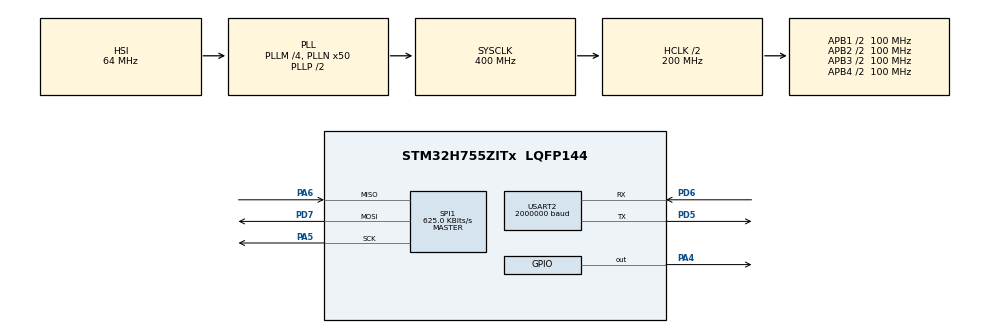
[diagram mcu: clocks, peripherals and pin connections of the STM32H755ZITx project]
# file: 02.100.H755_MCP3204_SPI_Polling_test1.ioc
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CortexM4.IPs=FATFS_M4\:I,FREERTOS_M4\:I,IWDG2\:I,RCC,WWDG2\:I,DMA,BDMA,MDMA,NVIC2\:I,ETH,DEBUG,PDM2PCM_M4\:I,PWR,RESMGR_UTILITY,SYS_M4\:I,USB_DEVICE_M4\:I,USB_HOST_M4\:I,CORTEX_M4\:I,GPIO,OPENAMP_M4\:I,VREFBUF,NUCLEO-H755ZI-Q
CortexM7.IPs=FATFS_M7\:I,FREERTOS_M7\:I,IWDG1\:I,RCC\:I,WWDG1\:I,DMA\:I,BDMA\:I,MDMA\:I,NVIC1\:I,ETH\:I,USB_OTG_FS\:I,SYS\:I,CORTEX_M7\:I,DEBUG\:I,PDM2PCM_M7\:I,PWR\:I,RESMGR_UTILITY\:I,USB_DEVICE_M7\:I,USB_HOST_M7\:I,GPIO\:I,OPENAMP_M7\:I,VREFBUF\:I,NUCLEO-H755ZI-Q\:I,MEMORYMAP\:I,USART2\:I,SPI1\:I
CortexM7.Pins=PA4
Dma.Request0=USART2_TX
Dma.Request1=USART2_RX
Dma.USART2_RX.1.Direction=DMA_PERIPH_TO_MEMORY
Dma.USART2_RX.1.EventEnable=DISABLE
Dma.USART2_RX.1.FIFOMode=DMA_FIFOMODE_DISABLE
Dma.USART2_RX.1.Instance=DMA1_Stream1
Dma.USART2_RX.1.MemDataAlignment=DMA_MDATAALIGN_BYTE
Dma.USART2_RX.1.MemInc=DMA_MINC_ENABLE
Dma.USART2_RX.1.Mode=DMA_CIRCULAR
Dma.USART2_RX.1.PeriphDataAlignment=DMA_PDATAALIGN_BYTE
Dma.USART2_RX.1.PeriphInc=DMA_PINC_DISABLE
Dma.USART2_RX.1.Polarity=HAL_DMAMUX_REQ_GEN_RISING
Dma.USART2_RX.1.Priority=DMA_PRIORITY_LOW
Dma.USART2_RX.1.RequestNumber=1
Dma.USART2_RX.1.SignalID=NONE
Dma.USART2_RX.1.SyncEnable=DISABLE
Dma.USART2_RX.1.SyncPolarity=HAL_DMAMUX_SYNC_NO_EVENT
Dma.USART2_RX.1.SyncRequestNumber=1
Dma.USART2_RX.1.SyncSignalID=NONE
Dma.USART2_TX.0.Direction=DMA_MEMORY_TO_PERIPH
Dma.USART2_TX.0.EventEnable=DISABLE
Dma.USART2_TX.0.FIFOMode=DMA_FIFOMODE_DISABLE
Dma.USART2_TX.0.Instance=DMA1_Stream0
Dma.USART2_TX.0.MemDataAlignment=DMA_MDATAALIGN_BYTE
Dma.USART2_TX.0.MemInc=DMA_MINC_ENABLE
Dma.USART2_TX.0.Mode=DMA_NORMAL
Dma.USART2_TX.0.PeriphDataAlignment=DMA_PDATAALIGN_BYTE
Dma.USART2_TX.0.PeriphInc=DMA_PINC_DISABLE
Dma.USART2_TX.0.Polarity=HAL_DMAMUX_REQ_GEN_RISING
Dma.USART2_TX.0.Priority=DMA_PRIORITY_LOW
Dma.USART2_TX.0.RequestNumber=1
Dma.USART2_TX.0.SignalID=NONE
Dma.USART2_TX.0.SyncEnable=DISABLE
Dma.USART2_TX.0.SyncPolarity=HAL_DMAMUX_SYNC_NO_EVENT
Dma.USART2_TX.0.SyncRequestNumber=1
Dma.USART2_TX.0.SyncSignalID=NONE
Mcu.Family=STM32H7
Mcu.Name=STM32H755ZITx
Mcu.Package=LQFP144
NVIC1.DMA1_Stream0_IRQn=true\:0\:0\:false\:false\:true\:false\:true\:true
NVIC1.DMA1_Stream1_IRQn=true\:0\:0\:false\:false\:true\:false\:true\:true
NVIC1.PriorityGroup=NVIC_PRIORITYGROUP_4
NVIC1.USART2_IRQn=true\:0\:0\:false\:false\:true\:true\:true\:true
NVIC2.PriorityGroup=NVIC_PRIORITYGROUP_4
PA4.GPIO_ModeDefaultOutputPP=GPIO_MODE_OUTPUT_PP
PA4.GPIO_PuPd=GPIO_NOPULL
PA4.GPIO_Speed=GPIO_SPEED_FREQ_VERY_HIGH
PA4.PinAttribute=CortexM7
PA4.PinState=GPIO_PIN_SET
PA4.Signal=GPIO_Output
PA5.Mode=Full_Duplex_Master
PA5.PinAttribute=CortexM7
PA5.Signal=SPI1_SCK
PA6.Mode=Full_Duplex_Master
PA6.PinAttribute=CortexM7
PA6.Signal=SPI1_MISO
PD5.Mode=Asynchronous
PD5.PinAttribute=CortexM7
PD5.Signal=USART2_TX
PD6.Mode=Asynchronous
PD6.PinAttribute=CortexM7
PD6.Signal=USART2_RX
PD7.Mode=Full_Duplex_Master
PD7.PinAttribute=CortexM7
PD7.Signal=SPI1_MOSI
ProjectManager.HeapSize=M4-0x200,M7-0x200
ProjectManager.StackSize=M4-0x400,M7-0x400
ProjectManager.TargetToolchain=STM32CubeIDE
RCC.ADCFreq_Value=129000000
RCC.APB1Freq_Value=100000000
RCC.APB2Freq_Value=100000000
RCC.APB3Freq_Value=100000000
RCC.APB4Freq_Value=100000000
RCC.CortexFreq_Value=400000000
RCC.D1PPRE=RCC_APB3_DIV2
RCC.D2PPRE1=RCC_APB1_DIV2
RCC.D2PPRE2=RCC_APB2_DIV2
RCC.D3PPRE=RCC_APB4_DIV2
RCC.DIVM1=4
RCC.DIVN1=50
RCC.DIVQ1=5
RCC.HCLKFreq_Value=200000000
RCC.HPRE=RCC_HCLK_DIV2
RCC.PLL2FRACN=0
RCC.PLL3FRACN=0
RCC.PLLFRACN=0
RCC.SYSCLKFreq_VALUE=400000000
RCC.SYSCLKSource=RCC_SYSCLKSOURCE_PLLCLK
RCC.SupplySource=PWR_DIRECT_SMPS_SUPPLY
RCC.USBFreq_Value=160000000
SPI1.BaudRatePrescaler=SPI_BAUDRATEPRESCALER_256
SPI1.CalculateBaudRate=625.0 KBits/s
SPI1.DataSize=SPI_DATASIZE_8BIT
SPI1.Direction=SPI_DIRECTION_2LINES
SPI1.Mode=SPI_MODE_MASTER
SPI1.VirtualType=VM_MASTER
USART2.BaudRate=2000000
USART2.VirtualMode-Asynchronous=VM_ASYNC
VP_MEMORYMAP_VS_MEMORYMAP.Mode=CurAppReg
VP_SYS_M4_VS_Systick.Mode=SysTick
board=NUCLEO-H755ZI-Q

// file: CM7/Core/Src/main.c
/* USER CODE BEGIN Header */
/**
  ******************************************************************************
  * @file           : main.c
  * @brief          : Main program body
  ******************************************************************************
  * @attention
  *
  * Copyright (c) 2025 STMicroelectronics.
  * All rights reserved.
  *
  * This software is licensed under terms that can be found in the LICENSE file
  * in the root directory of this software component.
  * If no LICENSE file comes with this software, it is provided AS-IS.
  *
  ******************************************************************************
  */
/* USER CODE END Header */
#include "main.h"

/* USER CODE BEGIN Includes */
#include <stdio.h>
#include <string.h>
#include <stddef.h>
#include <stdarg.h>
#include <stdbool.h>
#include <stdlib.h>
/* USER CODE END Includes */

/* USER CODE BEGIN PD */

/* DUAL_CORE_BOOT_SYNC_SEQUENCE: Define for dual core boot synchronization    */
/*                             demonstration code based on hardware semaphore */
/* This define is present in both CM7/CM4 projects                            */
/* To comment when developping/debugging on a single core                     */
#define DUAL_CORE_BOOT_SYNC_SEQUENCE

#if defined(DUAL_CORE_BOOT_SYNC_SEQUENCE)
#ifndef HSEM_ID_0
#define HSEM_ID_0 (0U) /* HW semaphore 0*/
#endif
#endif /* DUAL_CORE_BOOT_SYNC_SEQUENCE */

/* USER CODE END PD */

SPI_HandleTypeDef hspi1;

UART_HandleTypeDef huart2;
DMA_HandleTypeDef hdma_usart2_tx;
DMA_HandleTypeDef hdma_usart2_rx;

/* USER CODE BEGIN PV */
uint8_t dma_rx_buffer[64];
uint8_t dma_tx_buffer[64];
uint16_t old_pos = 0;

static volatile bool uart_tx_busy = false;
static char uartBuffer[250];
/* USER CODE END PV */

void SystemClock_Config(void);
static void MX_GPIO_Init(void);
static void MX_DMA_Init(void);
static void MX_USART2_UART_Init(void);
static void MX_SPI1_Init(void);
/* USER CODE BEGIN PFP */

void DebugPrint(const char *format, ...)
{
	// Wait for previous transmission to complete
	    while (uart_tx_busy);

	    va_list args;
	    va_start(args, format);
	    vsnprintf(uartBuffer, sizeof(uartBuffer), format, args);
	    va_end(args);

	    uart_tx_busy = true;

	    HAL_UART_Transmit_DMA(&huart2, (uint8_t *)uartBuffer, strlen(uartBuffer));
}

void check_dma_data(void)
{
    static uint32_t total_pos = 0;  // new: global linear counter

    uint16_t pos = sizeof(dma_rx_buffer) - __HAL_DMA_GET_COUNTER(&hdma_usart2_rx);

    if (pos != old_pos)
    {
        if (pos > old_pos)
        {
            // Normal forward move (no wrap)
            for (uint16_t i = old_pos; i < pos; i++)
            {
                DebugPrint("\r\nGot: '%c' (0x%02X) at pos %lu\r\n\r\n",
                           dma_rx_buffer[i], dma_rx_buffer[i], total_pos++);
            }
        }
        else
        {
            // Wrapped around — handle end part and restart from 0
            for (uint16_t i = old_pos; i < sizeof(dma_rx_buffer); i++)
            {
                DebugPrint("\r\nGot: '%c' (0x%02X) at pos %lu\r\n\r\n",
                           dma_rx_buffer[i], dma_rx_buffer[i], total_pos++);
            }
            for (uint16_t i = 0; i < pos; i++)
            {
                DebugPrint("\r\nGot: '%c' (0x%02X) at pos %lu\r\n\r\n",
                           dma_rx_buffer[i], dma_rx_buffer[i], total_pos++);
            }
        }

        old_pos = pos;
    }
}

uint8_t spi_transfer(SPI_HandleTypeDef *hspi, uint8_t data)
{
	uint8_t received;
	HAL_SPI_TransmitReceive(hspi, &data, &received, 1, HAL_MAX_DELAY);

	return received;
}

uint16_t sensor_read_mcp3208(void)
{
	uint8_t addr = (0b00011000 | (0b010 & 0b111));
	uint8_t b1, b2;

	HAL_GPIO_WritePin(GPIOA,GPIO_PIN_4,GPIO_PIN_RESET);

	(void)spi_transfer(&hspi1, addr);
	b1 = spi_transfer(&hspi1, 0);
	b2 = spi_transfer(&hspi1, 0);

	HAL_GPIO_WritePin(GPIOA,GPIO_PIN_4,GPIO_PIN_SET);

	// 12-bit ADC değeri hesaplanıyor.
	uint16_t adcValue = ((b1 & 0x3F) << 6) | ((b2 & 0xFC) >> 2);

	return adcValue;
}

/* USER CODE END PFP */

int main(void)
{

/* USER CODE BEGIN Boot_Mode_Sequence_0 */
#if defined(DUAL_CORE_BOOT_SYNC_SEQUENCE)
  int32_t timeout;
#endif /* DUAL_CORE_BOOT_SYNC_SEQUENCE */
/* USER CODE END Boot_Mode_Sequence_0 */

/* USER CODE BEGIN Boot_Mode_Sequence_1 */
#if defined(DUAL_CORE_BOOT_SYNC_SEQUENCE)
  /* Wait until CPU2 boots and enters in stop mode or timeout*/
  timeout = 0xFFFF;
  while((__HAL_RCC_GET_FLAG(RCC_FLAG_D2CKRDY) != RESET) && (timeout-- > 0));
  if ( timeout < 0 )
  {
  Error_Handler();
  }
#endif /* DUAL_CORE_BOOT_SYNC_SEQUENCE */
/* USER CODE END Boot_Mode_Sequence_1 */
  /* MCU Configuration--------------------------------------------------------*/

  /* Reset of all peripherals, Initializes the Flash interface and the Systick. */
  HAL_Init();

  /* Configure the system clock */
  SystemClock_Config();
/* USER CODE BEGIN Boot_Mode_Sequence_2 */
#if defined(DUAL_CORE_BOOT_SYNC_SEQUENCE)
/* When system initialization is finished, Cortex-M7 will release Cortex-M4 by means of
HSEM notification */
/*HW semaphore Clock enable*/
__HAL_RCC_HSEM_CLK_ENABLE();
/*Take HSEM */
HAL_HSEM_FastTake(HSEM_ID_0);
/*Release HSEM in order to notify the CPU2(CM4)*/
HAL_HSEM_Release(HSEM_ID_0,0);
/* wait until CPU2 wakes up from stop mode */
timeout = 0xFFFF;
while((__HAL_RCC_GET_FLAG(RCC_FLAG_D2CKRDY) == RESET) && (timeout-- > 0));
if ( timeout < 0 )
{
Error_Handler();
}
#endif /* DUAL_CORE_BOOT_SYNC_SEQUENCE */
/* USER CODE END Boot_Mode_Sequence_2 */

  /* Initialize all configured peripherals */
  MX_GPIO_Init();
  MX_DMA_Init();
  MX_USART2_UART_Init();
  MX_SPI1_Init();
  /* USER CODE BEGIN 2 */

  DebugPrint("\r\n=== UART DMA RX Circular + TX Normal ===\r\n");
  DebugPrint("DMA started! Type something...\r\n");
  DebugPrint("1DMA started! Type something...\r\n");
  DebugPrint("2DMA started! Type something...\r\n");
  DebugPrint("3DMA started! Type something...\r\n");
  DebugPrint("4DMA started! Type something...\r\n");
  DebugPrint("5DMA started! Type something...\r\n");

  HAL_UART_Receive_DMA(&huart2, dma_rx_buffer, sizeof(dma_rx_buffer));

  uint16_t adc_val = 0;
  float adc_vol = 0;
  /* USER CODE END 2 */

  /* Infinite loop */
  while (1)
  {

    /* USER CODE BEGIN 3 */
	  	  adc_val = sensor_read_mcp3208();
	  	  adc_vol = (adc_val/4096.0f) * 4.096f;
	  	  check_dma_data();
	  	  DebugPrint("ADC value: 0x%x | Voltage: %.3fV\r\n",adc_val, adc_vol);
	  	  HAL_Delay(1000);
  }
  /* USER CODE END 3 */
}

void SystemClock_Config(void)
{
  RCC_OscInitTypeDef RCC_OscInitStruct = {0};
  RCC_ClkInitTypeDef RCC_ClkInitStruct = {0};

  /** Supply configuration update enable
  */
  HAL_PWREx_ConfigSupply(PWR_DIRECT_SMPS_SUPPLY);

  /** Configure the main internal regulator output voltage
  */
  __HAL_PWR_VOLTAGESCALING_CONFIG(PWR_REGULATOR_VOLTAGE_SCALE1);

  while(!__HAL_PWR_GET_FLAG(PWR_FLAG_VOSRDY)) {}

  /** Initializes the RCC Oscillators according to the specified parameters
  * in the RCC_OscInitTypeDef structure.
  */
  RCC_OscInitStruct.OscillatorType = RCC_OSCILLATORTYPE_HSI;
  RCC_OscInitStruct.HSIState = RCC_HSI_DIV1;
  RCC_OscInitStruct.HSICalibrationValue = RCC_HSICALIBRATION_DEFAULT;
  RCC_OscInitStruct.PLL.PLLState = RCC_PLL_ON;
  RCC_OscInitStruct.PLL.PLLSource = RCC_PLLSOURCE_HSI;
  RCC_OscInitStruct.PLL.PLLM = 4;
  RCC_OscInitStruct.PLL.PLLN = 50;
  RCC_OscInitStruct.PLL.PLLP = 2;
  RCC_OscInitStruct.PLL.PLLQ = 5;
  RCC_OscInitStruct.PLL.PLLR = 2;
  RCC_OscInitStruct.PLL.PLLRGE = RCC_PLL1VCIRANGE_3;
  RCC_OscInitStruct.PLL.PLLVCOSEL = RCC_PLL1VCOWIDE;
  RCC_OscInitStruct.PLL.PLLFRACN = 0;
  if (HAL_RCC_OscConfig(&RCC_OscInitStruct) != HAL_OK)
  {
    Error_Handler();
  }

  /** Initializes the CPU, AHB and APB buses clocks
  */
  RCC_ClkInitStruct.ClockType = RCC_CLOCKTYPE_HCLK|RCC_CLOCKTYPE_SYSCLK
                              |RCC_CLOCKTYPE_PCLK1|RCC_CLOCKTYPE_PCLK2
                              |RCC_CLOCKTYPE_D3PCLK1|RCC_CLOCKTYPE_D1PCLK1;
  RCC_ClkInitStruct.SYSCLKSource = RCC_SYSCLKSOURCE_PLLCLK;
  RCC_ClkInitStruct.SYSCLKDivider = RCC_SYSCLK_DIV1;
  RCC_ClkInitStruct.AHBCLKDivider = RCC_HCLK_DIV2;
  RCC_ClkInitStruct.APB3CLKDivider = RCC_APB3_DIV2;
  RCC_ClkInitStruct.APB1CLKDivider = RCC_APB1_DIV2;
  RCC_ClkInitStruct.APB2CLKDivider = RCC_APB2_DIV2;
  RCC_ClkInitStruct.APB4CLKDivider = RCC_APB4_DIV2;

  if (HAL_RCC_ClockConfig(&RCC_ClkInitStruct, FLASH_LATENCY_2) != HAL_OK)
  {
    Error_Handler();
  }
}

static void MX_SPI1_Init(void)
{

  /* SPI1 parameter configuration*/
  hspi1.Instance = SPI1;
  hspi1.Init.Mode = SPI_MODE_MASTER;
  hspi1.Init.Direction = SPI_DIRECTION_2LINES;
  hspi1.Init.DataSize = SPI_DATASIZE_8BIT;
  hspi1.Init.CLKPolarity = SPI_POLARITY_LOW;
  hspi1.Init.CLKPhase = SPI_PHASE_1EDGE;
  hspi1.Init.NSS = SPI_NSS_SOFT;
  hspi1.Init.BaudRatePrescaler = SPI_BAUDRATEPRESCALER_256;
  hspi1.Init.FirstBit = SPI_FIRSTBIT_MSB;
  hspi1.Init.TIMode = SPI_TIMODE_DISABLE;
  hspi1.Init.CRCCalculation = SPI_CRCCALCULATION_DISABLE;
  hspi1.Init.CRCPolynomial = 0x0;
  hspi1.Init.NSSPMode = SPI_NSS_PULSE_ENABLE;
  hspi1.Init.NSSPolarity = SPI_NSS_POLARITY_LOW;
  hspi1.Init.FifoThreshold = SPI_FIFO_THRESHOLD_01DATA;
  hspi1.Init.TxCRCInitializationPattern = SPI_CRC_INITIALIZATION_ALL_ZERO_PATTERN;
  hspi1.Init.RxCRCInitializationPattern = SPI_CRC_INITIALIZATION_ALL_ZERO_PATTERN;
  hspi1.Init.MasterSSIdleness = SPI_MASTER_SS_IDLENESS_00CYCLE;
  hspi1.Init.MasterInterDataIdleness = SPI_MASTER_INTERDATA_IDLENESS_00CYCLE;
  hspi1.Init.MasterReceiverAutoSusp = SPI_MASTER_RX_AUTOSUSP_DISABLE;
  hspi1.Init.MasterKeepIOState = SPI_MASTER_KEEP_IO_STATE_DISABLE;
  hspi1.Init.IOSwap = SPI_IO_SWAP_DISABLE;
  if (HAL_SPI_Init(&hspi1) != HAL_OK)
  {
    Error_Handler();
  }

}

static void MX_USART2_UART_Init(void)
{

  huart2.Instance = USART2;
  huart2.Init.BaudRate = 2000000;
  huart2.Init.WordLength = UART_WORDLENGTH_8B;
  huart2.Init.StopBits = UART_STOPBITS_1;
  huart2.Init.Parity = UART_PARITY_NONE;
  huart2.Init.Mode = UART_MODE_TX_RX;
  huart2.Init.HwFlowCtl = UART_HWCONTROL_NONE;
  huart2.Init.OverSampling = UART_OVERSAMPLING_16;
  huart2.Init.OneBitSampling = UART_ONE_BIT_SAMPLE_DISABLE;
  huart2.Init.ClockPrescaler = UART_PRESCALER_DIV1;
  huart2.AdvancedInit.AdvFeatureInit = UART_ADVFEATURE_NO_INIT;
  if (HAL_UART_Init(&huart2) != HAL_OK)
  {
    Error_Handler();
  }
  if (HAL_UARTEx_SetTxFifoThreshold(&huart2, UART_TXFIFO_THRESHOLD_1_8) != HAL_OK)
  {
    Error_Handler();
  }
  if (HAL_UARTEx_SetRxFifoThreshold(&huart2, UART_RXFIFO_THRESHOLD_1_8) != HAL_OK)
  {
    Error_Handler();
  }
  if (HAL_UARTEx_DisableFifoMode(&huart2) != HAL_OK)
  {
    Error_Handler();
  }

}

static void MX_DMA_Init(void)
{

  /* DMA controller clock enable */
  __HAL_RCC_DMA1_CLK_ENABLE();

  /* DMA interrupt init */
  /* DMA1_Stream0_IRQn interrupt configuration */
  HAL_NVIC_SetPriority(DMA1_Stream0_IRQn, 0, 0);
  HAL_NVIC_EnableIRQ(DMA1_Stream0_IRQn);
  /* DMA1_Stream1_IRQn interrupt configuration */
  HAL_NVIC_SetPriority(DMA1_Stream1_IRQn, 0, 0);
  HAL_NVIC_EnableIRQ(DMA1_Stream1_IRQn);

}

static void MX_GPIO_Init(void)
{
  GPIO_InitTypeDef GPIO_InitStruct = {0};

  /* GPIO Ports Clock Enable */
  __HAL_RCC_GPIOA_CLK_ENABLE();
  __HAL_RCC_GPIOD_CLK_ENABLE();

  /*Configure GPIO pin Output Level */
  HAL_GPIO_WritePin(GPIOA, GPIO_PIN_4, GPIO_PIN_SET);

  /*Configure GPIO pin : PA4 */
  GPIO_InitStruct.Pin = GPIO_PIN_4;
  GPIO_InitStruct.Mode = GPIO_MODE_OUTPUT_PP;
  GPIO_InitStruct.Pull = GPIO_NOPULL;
  GPIO_InitStruct.Speed = GPIO_SPEED_FREQ_VERY_HIGH;
  HAL_GPIO_Init(GPIOA, &GPIO_InitStruct);

}

/* USER CODE BEGIN 4 */
void HAL_UART_TxCpltCallback(UART_HandleTypeDef *huart)
{
    if (huart->Instance == USART2)
    {
        uart_tx_busy = false;  // Transmission complete
    }
}

//void HAL_UART_RxCpltCallback(UART_HandleTypeDef *huart)
//{
//    if(huart->Instance == USART2)
//    {
//        // Process received data here (rxBuffer[0..63])
//
//        // Restart DMA reception
//    	HAL_UART_Receive_DMA(&huart2, dma_rx_buffer, sizeof(dma_rx_buffer));
//    }
//}
/* USER CODE END 4 */

void Error_Handler(void)
{
  __disable_irq();
  while (1)
  {
  }
}
